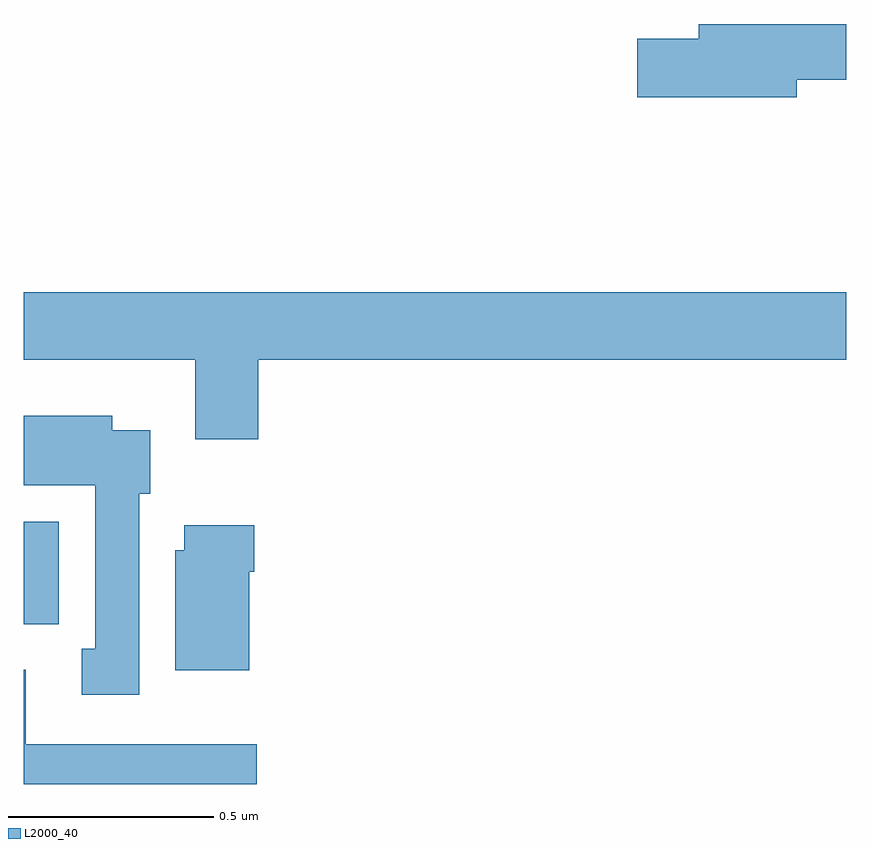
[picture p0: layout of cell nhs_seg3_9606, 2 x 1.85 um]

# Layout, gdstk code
import gdstk
lib = gdstk.Library(unit=1e-6, precision=1e-09)
def R(c, l, rs):  # rectangles x0, y0, x1, y1
    for r in rs: c.add(gdstk.rectangle(r[:2], r[2:], *l))
def P(c, l, *ps):  # polygons
    for p in ps: c.add(gdstk.Polygon(p, *l))
L2000_40 = (2000, 40)

nhs_seg3_9606 = lib.new_cell('nhs_seg3_9606')
R(nhs_seg3_9606, L2000_40, [(230,730.908,230.085,731.158)])
P(nhs_seg3_9606, L2000_40, [(231.88,732.232),(232,732.232),(232,732.368),(231.641,732.368),(231.641,732.332),(231.492,732.332),(231.492,732.19),(231.88,732.19)],
  [(230.57,731.552),(232,731.552),(232,731.716),(230,731.716),(230,731.552),(230.417,731.552),(230.417,731.358),(230.57,731.358)],
  [(230.281,731.226),(230.308,731.226),(230.308,731.38),(230.215,731.38),(230.215,731.416),(230,731.416),(230,731.246),(230.174,731.246),(230.174,730.849),(230.141,730.849),(230.141,730.737),(230.281,730.737)],
  [(230.548,731.036),(230.561,731.036),(230.561,731.149),(230.39,731.149),(230.39,731.088),(230.369,731.088),(230.369,730.796),(230.548,730.796)],
  [(230.566,730.617),(230.005,730.617),(230.005,730.798),(230,730.798),(230,730.52),(230.566,730.52)])

lib.write_gds('nhs_seg3_9606.gds')
